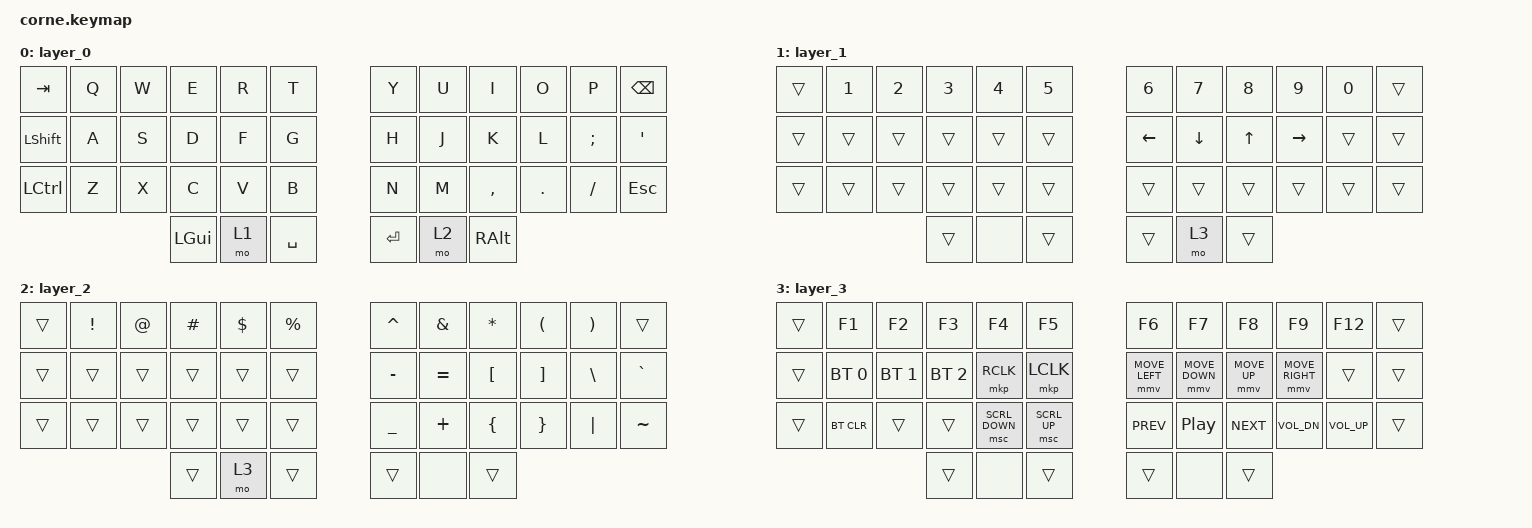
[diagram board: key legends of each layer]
#include <behaviors.dtsi>
#include <dt-bindings/zmk/keys.h>
#include <dt-bindings/zmk/bt.h>

#define ZMK_POINTING_DEFAULT_MOVE_VAL 1500  // default: 600
#define ZMK_POINTING_DEFAULT_SCRL_VAL 20    // default: 10
#include <dt-bindings/zmk/pointing.h>

/ {
  keymap {
    compatible = "zmk,keymap";

    layer_0 {
      bindings = <
        &kp TAB   &kp Q &kp W &kp E    &kp R &kp T        &kp Y   &kp U &kp I     &kp O   &kp P    &kp BSPC
        &kp LSHFT &kp A &kp S &kp D    &kp F &kp G        &kp H   &kp J &kp K     &kp L   &kp SEMI &kp SQT
        &kp LCTRL &kp Z &kp X &kp C    &kp V &kp B        &kp N   &kp M &kp COMMA &kp DOT &kp FSLH &kp ESC
                              &kp LGUI &mo 1 &kp SPACE    &kp RET &mo 2 &kp RALT
      >;
    };

    layer_1 {
      bindings = <
        &trans &kp N1 &kp N2 &kp N3 &kp N4 &kp N5    &kp N6   &kp N7   &kp N8 &kp N9    &kp N0 &trans
        &trans &trans &trans &trans &trans &trans    &kp LEFT &kp DOWN &kp UP &kp RIGHT &trans &trans
        &trans &trans &trans &trans &trans &trans    &trans   &trans   &trans &trans    &trans &trans
                             &trans &none  &trans    &trans   &mo 3    &trans
      >;
    };

    layer_2 {
      bindings = <
        &trans &kp EXCL &kp AT &kp HASH &kp DLLR &kp PRCNT    &kp CARET &kp AMPS  &kp ASTRK &kp LPAR &kp RPAR &trans
        &trans &trans   &trans &trans   &trans   &trans       &kp MINUS &kp EQUAL &kp LBKT  &kp RBKT &kp BSLH &kp GRAVE
        &trans &trans   &trans &trans   &trans   &trans       &kp UNDER &kp PLUS  &kp LBRC  &kp RBRC &kp PIPE &kp TILDE
                               &trans   &mo 3    &trans       &trans    &none     &trans
      >;
    };

    layer_3 {
      bindings = <
        &trans &kp F1       &kp F2       &kp F3       &kp F4         &kp F5          &kp F6         &kp F7           &kp F8       &kp F9          &kp F12      &trans
        &trans &bt BT_SEL 0 &bt BT_SEL 1 &bt BT_SEL 2 &mkp RCLK      &mkp LCLK       &mmv MOVE_LEFT &mmv MOVE_DOWN   &mmv MOVE_UP &mmv MOVE_RIGHT &trans       &trans
        &trans &bt BT_CLR   &trans       &trans       &msc SCRL_DOWN &msc SCRL_UP    &kp C_PREV     &kp C_PLAY_PAUSE &kp C_NEXT   &kp C_VOL_DN    &kp C_VOL_UP &trans
                                         &trans       &none          &trans          &trans         &none            &trans
      >;
    };
  };
};
